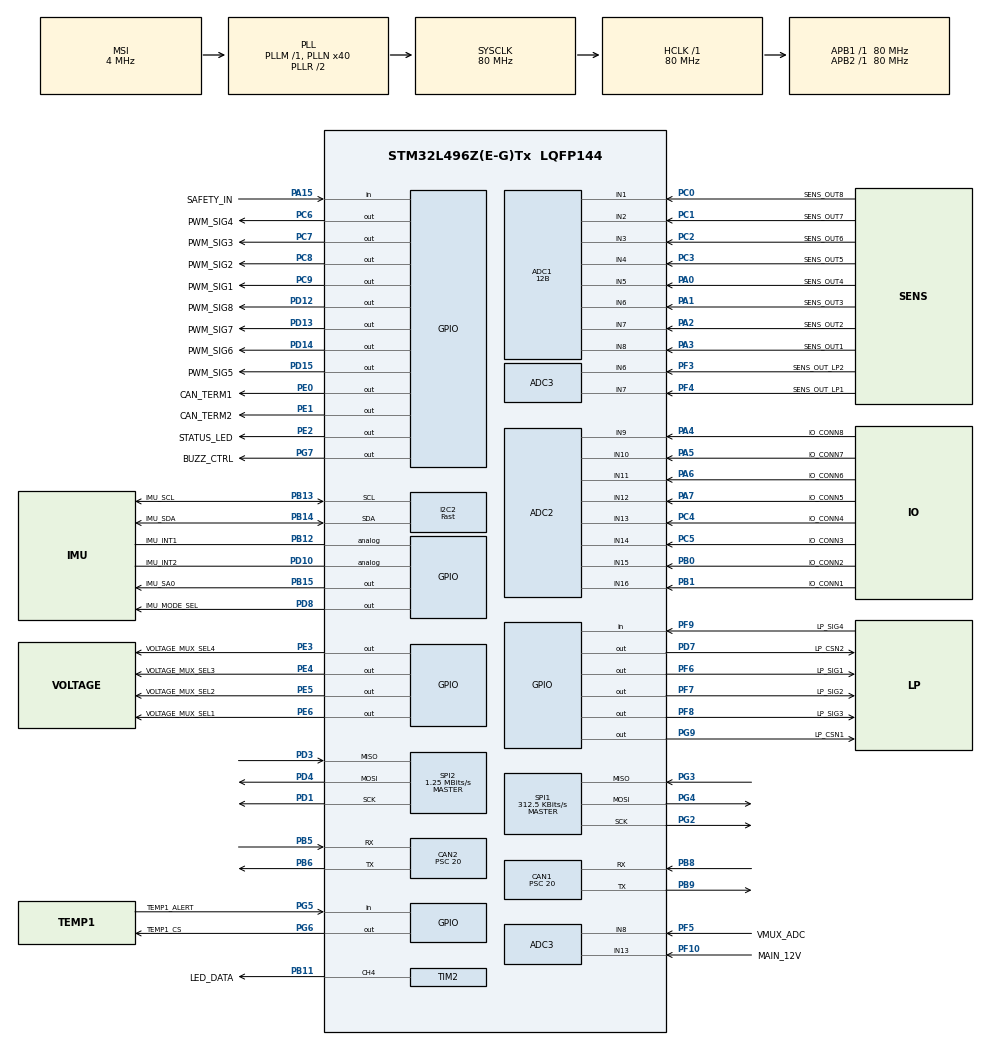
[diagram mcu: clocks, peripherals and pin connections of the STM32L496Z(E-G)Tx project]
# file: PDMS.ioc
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ADC1.Channel-0\#ChannelRegularConversion=ADC_CHANNEL_8
ADC1.Channel-1\#ChannelRegularConversion=ADC_CHANNEL_7
ADC1.Channel-2\#ChannelRegularConversion=ADC_CHANNEL_6
ADC1.Channel-3\#ChannelRegularConversion=ADC_CHANNEL_5
ADC1.Channel-4\#ChannelRegularConversion=ADC_CHANNEL_4
ADC1.Channel-5\#ChannelRegularConversion=ADC_CHANNEL_3
ADC1.Channel-6\#ChannelRegularConversion=ADC_CHANNEL_2
ADC1.Channel-7\#ChannelRegularConversion=ADC_CHANNEL_1
ADC1.DMAContinuousRequests=ENABLE
ADC1.EOCSelection=ADC_EOC_SEQ_CONV
ADC1.ExternalTrigConv=ADC_EXTERNALTRIG_T15_TRGO
ADC1.NbrOfConversion=8
ADC1.NbrOfConversionFlag=1
ADC1.OffsetNumber-0\#ChannelRegularConversion=ADC_OFFSET_NONE
ADC1.OffsetNumber-1\#ChannelRegularConversion=ADC_OFFSET_NONE
ADC1.OffsetNumber-2\#ChannelRegularConversion=ADC_OFFSET_NONE
ADC1.OffsetNumber-3\#ChannelRegularConversion=ADC_OFFSET_NONE
ADC1.OffsetNumber-4\#ChannelRegularConversion=ADC_OFFSET_NONE
ADC1.OffsetNumber-5\#ChannelRegularConversion=ADC_OFFSET_NONE
ADC1.OffsetNumber-6\#ChannelRegularConversion=ADC_OFFSET_NONE
ADC1.OffsetNumber-7\#ChannelRegularConversion=ADC_OFFSET_NONE
ADC1.Overrun=ADC_OVR_DATA_OVERWRITTEN
ADC1.OversamplingMode=ENABLE
ADC1.Rank-0\#ChannelRegularConversion=1
ADC1.Rank-1\#ChannelRegularConversion=2
ADC1.Rank-2\#ChannelRegularConversion=3
ADC1.Rank-3\#ChannelRegularConversion=4
ADC1.Rank-4\#ChannelRegularConversion=5
ADC1.Rank-5\#ChannelRegularConversion=6
ADC1.Rank-6\#ChannelRegularConversion=7
ADC1.Rank-7\#ChannelRegularConversion=8
ADC1.Ratio=ADC_OVERSAMPLING_RATIO_16
ADC1.Resolution=ADC_RESOLUTION_12B
ADC1.RightBitShift=ADC_RIGHTBITSHIFT_4
ADC1.SamplingTime-0\#ChannelRegularConversion=ADC_SAMPLETIME_12CYCLES_5
ADC1.SamplingTime-1\#ChannelRegularConversion=ADC_SAMPLETIME_12CYCLES_5
ADC1.SamplingTime-2\#ChannelRegularConversion=ADC_SAMPLETIME_12CYCLES_5
ADC1.SamplingTime-3\#ChannelRegularConversion=ADC_SAMPLETIME_12CYCLES_5
ADC1.SamplingTime-4\#ChannelRegularConversion=ADC_SAMPLETIME_12CYCLES_5
ADC1.SamplingTime-5\#ChannelRegularConversion=ADC_SAMPLETIME_12CYCLES_5
ADC1.SamplingTime-6\#ChannelRegularConversion=ADC_SAMPLETIME_12CYCLES_5
ADC1.SamplingTime-7\#ChannelRegularConversion=ADC_SAMPLETIME_12CYCLES_5
ADC1.master=1
ADC2.Channel-1\#ChannelRegularConversion=ADC_CHANNEL_16
ADC2.Channel-2\#ChannelRegularConversion=ADC_CHANNEL_15
ADC2.Channel-3\#ChannelRegularConversion=ADC_CHANNEL_14
ADC2.Channel-4\#ChannelRegularConversion=ADC_CHANNEL_13
ADC2.Channel-5\#ChannelRegularConversion=ADC_CHANNEL_12
ADC2.Channel-6\#ChannelRegularConversion=ADC_CHANNEL_11
ADC2.Channel-7\#ChannelRegularConversion=ADC_CHANNEL_10
ADC2.Channel-8\#ChannelRegularConversion=ADC_CHANNEL_9
ADC2.DMAContinuousRequests=ENABLE
ADC2.EOCSelection=ADC_EOC_SEQ_CONV
ADC2.EnableAnalogWatchDog1=false
ADC2.EnableAnalogWatchDog2=false
ADC2.ExternalTrigConv=ADC_EXTERNALTRIG_T3_TRGO
ADC2.NbrOfConversion=8
ADC2.NbrOfConversionFlag=1
ADC2.OffsetNumber-1\#ChannelRegularConversion=ADC_OFFSET_NONE
ADC2.OffsetNumber-2\#ChannelRegularConversion=ADC_OFFSET_NONE
ADC2.OffsetNumber-3\#ChannelRegularConversion=ADC_OFFSET_NONE
ADC2.OffsetNumber-4\#ChannelRegularConversion=ADC_OFFSET_NONE
ADC2.OffsetNumber-5\#ChannelRegularConversion=ADC_OFFSET_NONE
ADC2.OffsetNumber-6\#ChannelRegularConversion=ADC_OFFSET_NONE
ADC2.OffsetNumber-7\#ChannelRegularConversion=ADC_OFFSET_NONE
ADC2.OffsetNumber-8\#ChannelRegularConversion=ADC_OFFSET_NONE
ADC2.Rank-1\#ChannelRegularConversion=1
ADC2.Rank-2\#ChannelRegularConversion=2
ADC2.Rank-3\#ChannelRegularConversion=3
ADC2.Rank-4\#ChannelRegularConversion=4
ADC2.Rank-5\#ChannelRegularConversion=5
ADC2.Rank-6\#ChannelRegularConversion=6
ADC2.Rank-7\#ChannelRegularConversion=7
ADC2.Rank-8\#ChannelRegularConversion=8
ADC2.SamplingTime-1\#ChannelRegularConversion=ADC_SAMPLETIME_12CYCLES_5
ADC2.SamplingTime-2\#ChannelRegularConversion=ADC_SAMPLETIME_12CYCLES_5
ADC2.SamplingTime-3\#ChannelRegularConversion=ADC_SAMPLETIME_12CYCLES_5
ADC2.SamplingTime-4\#ChannelRegularConversion=ADC_SAMPLETIME_12CYCLES_5
ADC2.SamplingTime-5\#ChannelRegularConversion=ADC_SAMPLETIME_12CYCLES_5
ADC2.SamplingTime-6\#ChannelRegularConversion=ADC_SAMPLETIME_12CYCLES_5
ADC2.SamplingTime-7\#ChannelRegularConversion=ADC_SAMPLETIME_12CYCLES_5
ADC2.SamplingTime-8\#ChannelRegularConversion=ADC_SAMPLETIME_12CYCLES_5
ADC3.Channel-13\#ChannelRegularConversion=ADC_CHANNEL_6
ADC3.ClockPrescaler=ADC_CLOCK_ASYNC_DIV1
ADC3.ContinuousConvMode=ENABLE
ADC3.EOCSelection=ADC_EOC_SEQ_CONV
ADC3.EnableRegularConversion=ENABLE
ADC3.NbrOfConversionFlag=1
ADC3.OffsetNumber-13\#ChannelRegularConversion=ADC_OFFSET_NONE
ADC3.Overrun=ADC_OVR_DATA_OVERWRITTEN
ADC3.Rank-13\#ChannelRegularConversion=1
ADC3.SamplingTime-13\#ChannelRegularConversion=ADC_SAMPLETIME_2CYCLES_5
CAN1.BS1=CAN_BS1_2TQ
CAN1.BS2=CAN_BS2_1TQ
CAN1.CalculateBaudRate=1000000
CAN1.CalculateTimeBit=1000
CAN1.CalculateTimeQuantum=250.0
CAN1.Prescaler=20
CAN2.BS1=CAN_BS1_2TQ
CAN2.BS2=CAN_BS2_1TQ
CAN2.CalculateBaudRate=1000000
CAN2.CalculateTimeBit=1000
CAN2.CalculateTimeQuantum=250.0
CAN2.Prescaler=20
Dma.ADC1.1.Direction=DMA_PERIPH_TO_MEMORY
Dma.ADC1.1.Instance=DMA1_Channel1
Dma.ADC1.1.MemDataAlignment=DMA_MDATAALIGN_HALFWORD
Dma.ADC1.1.MemInc=DMA_MINC_ENABLE
Dma.ADC1.1.Mode=DMA_CIRCULAR
Dma.ADC1.1.PeriphDataAlignment=DMA_PDATAALIGN_HALFWORD
Dma.ADC1.1.PeriphInc=DMA_PINC_DISABLE
Dma.ADC1.1.Priority=DMA_PRIORITY_HIGH
Dma.ADC2.0.Direction=DMA_PERIPH_TO_MEMORY
Dma.ADC2.0.Instance=DMA1_Channel2
Dma.ADC2.0.MemDataAlignment=DMA_MDATAALIGN_HALFWORD
Dma.ADC2.0.MemInc=DMA_MINC_ENABLE
Dma.ADC2.0.Mode=DMA_CIRCULAR
Dma.ADC2.0.PeriphDataAlignment=DMA_PDATAALIGN_HALFWORD
Dma.ADC2.0.PeriphInc=DMA_PINC_DISABLE
Dma.ADC2.0.Priority=DMA_PRIORITY_HIGH
Dma.Request0=ADC2
Dma.Request1=ADC1
Dma.Request2=TIM2_CH2/CH4
Dma.TIM2_CH2/CH4.2.Direction=DMA_MEMORY_TO_PERIPH
Dma.TIM2_CH2/CH4.2.Instance=DMA1_Channel7
Dma.TIM2_CH2/CH4.2.MemDataAlignment=DMA_MDATAALIGN_BYTE
Dma.TIM2_CH2/CH4.2.MemInc=DMA_MINC_ENABLE
Dma.TIM2_CH2/CH4.2.Mode=DMA_NORMAL
Dma.TIM2_CH2/CH4.2.PeriphDataAlignment=DMA_PDATAALIGN_WORD
Dma.TIM2_CH2/CH4.2.PeriphInc=DMA_PINC_DISABLE
Dma.TIM2_CH2/CH4.2.Priority=DMA_PRIORITY_LOW
FREERTOS.Tasks01=defaultTask,24,128,StartDefaultTask,Default,NULL,Dynamic,NULL,NULL;statusTask,24,128,statusTaskStart,Default,NULL,Dynamic,NULL,NULL;can1Task,24,128,can1TaskStart,As external,NULL,Dynamic,NULL,NULL;can2Task,24,128,can2TaskStart,As external,NULL,Dynamic,NULL,NULL;adc1Task,48,128,adc1TaskStart,As external,NULL,Dynamic,NULL,NULL;testTask,24,128,testTaskEntry,As external,NULL,Dynamic,NULL,NULL;vmuxTask,24,128,vmuxTaskStart,As external,NULL,Dynamic,NULL,NULL;pdmTask,24,256,pdmTaskStart,As external,NULL,Dynamic,NULL,NULL;spoc2CurrTask,8,128,spoc2CurrTaskStart,As external,NULL,Dynamic,NULL,NULL;telemTask,24,256,telemTaskStart,As external,NULL,Dynamic,NULL,NULL;adc2Task,33,128,adc2TaskStart,As external,NULL,Dynamic,NULL,NULL;argbTask,24,128,argbTaskStart,As external,NULL,Dynamic,NULL,NULL;isotpTask,24,256,isotpTaskStart,As external,NULL,Dynamic,NULL,NULL;tmp126Task,24,128,tmp126TaskEntry,As external,NULL,Dynamic,NULL,NULL;imuTask,24,128,imuTaskEntry,As external,NULL,Dynamic,NULL,NULL
FREERTOS.configENABLE_FPU=0
FREERTOS.configTIMER_TASK_PRIORITY=32
FREERTOS.configTOTAL_HEAP_SIZE=64000
FREERTOS.configUSE_NEWLIB_REENTRANT=1
I2C2.CustomTiming=Disabled
I2C2.I2C_Speed_Mode=I2C_Fast
I2C2.Timing=0x00702991
IWDG.Prescaler=IWDG_PRESCALER_16
IWDG.Reload=2499
Mcu.Family=STM32L4
Mcu.Name=STM32L496Z(E-G)Tx
Mcu.Package=LQFP144
NVIC.ADC1_2_IRQn=true\:5\:0\:false\:false\:true\:true\:true\:true\:true
NVIC.CAN1_RX0_IRQn=true\:5\:0\:false\:false\:true\:true\:true\:true\:true
NVIC.CAN2_RX0_IRQn=true\:5\:0\:false\:false\:true\:true\:true\:true\:true
NVIC.DMA1_Channel1_IRQn=true\:5\:0\:false\:false\:true\:true\:false\:true\:true
NVIC.DMA1_Channel2_IRQn=true\:5\:0\:false\:false\:true\:true\:false\:true\:true
NVIC.DMA1_Channel7_IRQn=true\:5\:0\:false\:false\:true\:true\:false\:true\:true
NVIC.PriorityGroup=NVIC_PRIORITYGROUP_4
NVIC.TIM6_DAC_IRQn=true\:15\:0\:false\:false\:true\:false\:false\:true\:true
NVIC.TimeBase=TIM6_DAC_IRQn
NVIC.TimeBaseIP=TIM6
PA0.GPIO_Label=SENS_OUT4
PA0.Signal=ADCx_IN5
PA1.GPIO_Label=SENS_OUT3
PA1.Signal=ADCx_IN6
PA13\ (JTMS/SWDIO).Mode=Trace_Asynchronous_SW
PA13\ (JTMS/SWDIO).Signal=SYS_JTMS-SWDIO
PA14\ (JTCK/SWCLK).Mode=Trace_Asynchronous_SW
PA14\ (JTCK/SWCLK).Signal=SYS_JTCK-SWCLK
PA15\ (JTDI).GPIO_Label=SAFETY_IN
PA15\ (JTDI).Signal=GPIO_Input
PA2.GPIO_Label=SENS_OUT2
PA2.Signal=ADCx_IN7
PA3.GPIO_Label=SENS_OUT1
PA3.Signal=ADCx_IN8
PA4.GPIO_Label=IO_CONN8
PA4.Signal=ADCx_IN9
PA5.GPIO_Label=IO_CONN7
PA5.Signal=ADCx_IN10
PA6.GPIO_Label=IO_CONN6
PA6.Signal=ADCx_IN11
PA7.GPIO_Label=IO_CONN5
PA7.Signal=ADCx_IN12
PB0.GPIO_Label=IO_CONN2
PB0.Signal=ADCx_IN15
PB1.GPIO_Label=IO_CONN1
PB1.Signal=ADCx_IN16
PB11.GPIO_Label=LED_DATA
PB11.GPIO_ModeDefaultPP=GPIO_MODE_AF_PP
PB11.GPIO_PuPd=GPIO_NOPULL
PB11.GPIO_Speed=GPIO_SPEED_FREQ_HIGH
PB11.Signal=S_TIM2_CH4
PB12.GPIO_Label=IMU_INT1
PB12.Signal=GPIO_Analog
PB13.GPIO_Label=IMU_SCL
PB13.Mode=I2C
PB13.Signal=I2C2_SCL
PB14.GPIO_Label=IMU_SDA
PB14.Mode=I2C
PB14.Signal=I2C2_SDA
PB15.GPIO_Label=IMU_SA0
PB15.PinState=GPIO_PIN_SET
PB15.Signal=GPIO_Output
PB3\ (JTDO/TRACESWO).Mode=Trace_Asynchronous_SW
PB3\ (JTDO/TRACESWO).Signal=SYS_JTDO-SWO
PB5.Mode=CAN_Activate
PB5.Signal=CAN2_RX
PB6.Mode=CAN_Activate
PB6.Signal=CAN2_TX
PB8.Mode=CAN_Activate
PB8.Signal=CAN1_RX
PB9.Mode=CAN_Activate
PB9.Signal=CAN1_TX
PC0.GPIO_Label=SENS_OUT8
PC0.Signal=ADCx_IN1
PC1.GPIO_Label=SENS_OUT7
PC1.Signal=ADCx_IN2
PC2.GPIO_Label=SENS_OUT6
PC2.Signal=ADCx_IN3
PC3.GPIO_Label=SENS_OUT5
PC3.Signal=ADCx_IN4
PC4.GPIO_Label=IO_CONN4
PC4.Signal=ADCx_IN13
PC5.GPIO_Label=IO_CONN3
PC5.Signal=ADCx_IN14
PC6.GPIO_Label=PWM_SIG4
PC6.Signal=GPIO_Output
PC7.GPIO_Label=PWM_SIG3
PC7.Signal=GPIO_Output
PC8.GPIO_Label=PWM_SIG2
PC8.Signal=GPIO_Output
PC9.GPIO_Label=PWM_SIG1
PC9.Signal=GPIO_Output
PD1.Mode=Full_Duplex_Master
PD1.Signal=SPI2_SCK
PD10.GPIO_Label=IMU_INT2
PD10.Signal=GPIO_Analog
PD12.GPIO_Label=PWM_SIG8
PD12.Signal=GPIO_Output
PD13.GPIO_Label=PWM_SIG7
PD13.Signal=GPIO_Output
PD14.GPIO_Label=PWM_SIG6
PD14.Signal=GPIO_Output
PD15.GPIO_Label=PWM_SIG5
PD15.Signal=GPIO_Output
PD3.Mode=Full_Duplex_Master
PD3.Signal=SPI2_MISO
PD4.Mode=Full_Duplex_Master
PD4.Signal=SPI2_MOSI
PD7.GPIO_Label=LP_CSN2
PD7.Signal=GPIO_Output
PD8.GPIO_Label=IMU_MODE_SEL
PD8.PinState=GPIO_PIN_SET
PD8.Signal=GPIO_Output
PE0.GPIO_Label=CAN_TERM1
PE0.Signal=GPIO_Output
PE1.GPIO_Label=CAN_TERM2
PE1.Signal=GPIO_Output
PE2.GPIO_Label=STATUS_LED
PE2.Signal=GPIO_Output
PE3.GPIO_Label=VOLTAGE_MUX_SEL4
PE3.Signal=GPIO_Output
PE4.GPIO_Label=VOLTAGE_MUX_SEL3
PE4.Signal=GPIO_Output
PE5.GPIO_Label=VOLTAGE_MUX_SEL2
PE5.Signal=GPIO_Output
PE6.GPIO_Label=VOLTAGE_MUX_SEL1
PE6.Signal=GPIO_Output
PF10.GPIO_Label=MAIN_12V
PF10.Mode=IN13-Single-Ended
PF10.Signal=ADC3_IN13
PF3.GPIO_Label=SENS_OUT_LP2
PF3.Mode=IN6-Single-Ended
PF3.Signal=ADC3_IN6
PF4.GPIO_Label=SENS_OUT_LP1
PF4.Mode=IN7-Single-Ended
PF4.Signal=ADC3_IN7
PF5.GPIO_Label=VMUX_ADC
PF5.Mode=IN8-Single-Ended
PF5.Signal=ADC3_IN8
PF6.GPIO_Label=LP_SIG1
PF6.Signal=GPIO_Output
PF7.GPIO_Label=LP_SIG2
PF7.Signal=GPIO_Output
PF8.GPIO_Label=LP_SIG3
PF8.Signal=GPIO_Output
PF9.GPIO_Label=LP_SIG4
PF9.Signal=GPIO_Input
PG2.Mode=Full_Duplex_Master
PG2.Signal=SPI1_SCK
PG3.Mode=Full_Duplex_Master
PG3.Signal=SPI1_MISO
PG4.Mode=Full_Duplex_Master
PG4.Signal=SPI1_MOSI
PG5.GPIO_Label=TEMP1_ALERT
PG5.Signal=GPIO_Input
PG6.GPIO_Label=TEMP1_CS
PG6.Signal=GPIO_Output
PG7.GPIO_Label=BUZZ_CTRL
PG7.Signal=GPIO_Output
PG9.GPIO_Label=LP_CSN1
PG9.Signal=GPIO_Output
ProjectManager.HeapSize=0x200
ProjectManager.StackSize=0x400
ProjectManager.TargetToolchain=Makefile
RCC.ADCFreq_Value=32000000
RCC.AHBFreq_Value=80000000
RCC.APB1Freq_Value=80000000
RCC.APB1TimFreq_Value=80000000
RCC.APB2Freq_Value=80000000
RCC.APB2TimFreq_Value=80000000
RCC.CortexFreq_Value=80000000
RCC.HCLKFreq_Value=80000000
RCC.HSE_VALUE=8000000
RCC.HSI48_VALUE=48000000
RCC.HSI_VALUE=16000000
RCC.LSE_VALUE=32768
RCC.MSI_VALUE=4000000
RCC.PLLN=40
RCC.PLLSAI1N=16
RCC.SYSCLKFreq_VALUE=80000000
RCC.SYSCLKSource=RCC_SYSCLKSOURCE_PLLCLK
RCC.USBFreq_Value=32000000
RCC.VCOOutputFreq_Value=160000000
SH.ADCx_IN1.0=ADC1_IN1,IN1-Single-Ended
SH.ADCx_IN10.0=ADC2_IN10,IN10-Single-Ended
SH.ADCx_IN11.0=ADC2_IN11,IN11-Single-Ended
SH.ADCx_IN12.0=ADC2_IN12,IN12-Single-Ended
SH.ADCx_IN13.0=ADC2_IN13,IN13-Single-Ended
SH.ADCx_IN14.0=ADC2_IN14,IN14-Single-Ended
SH.ADCx_IN15.0=ADC2_IN15,IN15-Single-Ended
SH.ADCx_IN16.0=ADC2_IN16,IN16-Single-Ended
SH.ADCx_IN2.0=ADC1_IN2,IN2-Single-Ended
SH.ADCx_IN3.0=ADC1_IN3,IN3-Single-Ended
SH.ADCx_IN4.0=ADC1_IN4,IN4-Single-Ended
SH.ADCx_IN5.0=ADC1_IN5,IN5-Single-Ended
SH.ADCx_IN6.0=ADC1_IN6,IN6-Single-Ended
SH.ADCx_IN7.0=ADC1_IN7,IN7-Single-Ended
SH.ADCx_IN8.0=ADC1_IN8,IN8-Single-Ended
SH.ADCx_IN9.0=ADC2_IN9,IN9-Single-Ended
SH.S_TIM2_CH4.0=TIM2_CH4,PWM Generation4 CH4
SPI1.BaudRatePrescaler=SPI_BAUDRATEPRESCALER_256
SPI1.CLKPhase=SPI_PHASE_1EDGE
SPI1.CalculateBaudRate=312.5 KBits/s
SPI1.DataSize=SPI_DATASIZE_8BIT
SPI1.Direction=SPI_DIRECTION_2LINES
SPI1.Mode=SPI_MODE_MASTER
SPI1.NSSPMode=SPI_NSS_PULSE_DISABLE
SPI1.VirtualType=VM_MASTER
SPI2.BaudRatePrescaler=SPI_BAUDRATEPRESCALER_64
SPI2.CLKPhase=SPI_PHASE_2EDGE
SPI2.CalculateBaudRate=1.25 MBits/s
SPI2.DataSize=SPI_DATASIZE_8BIT
SPI2.Direction=SPI_DIRECTION_2LINES
SPI2.Mode=SPI_MODE_MASTER
SPI2.VirtualType=VM_MASTER
TIM15.Period=100-1
TIM15.Prescaler=80-1
TIM15.TIM_MasterOutputTrigger=TIM_TRGO_UPDATE
TIM2.Channel-PWM\ Generation4\ CH4=TIM_CHANNEL_4
TIM2.ClearChannel4=TIM_CHANNEL_4
TIM2.ClearInputSource=TIM_CLEARINPUTSOURCE_NONE
TIM2.OC4Preload_PWM=ENABLE
TIM2.Period=20-1
TIM2.Prescaler=5
TIM2.Pulse-PWM\ Generation4\ CH4=0
TIM3.Period=50-1
TIM3.Prescaler=8000-1
TIM3.TIM_MasterOutputTrigger=TIM_TRGO_UPDATE
TIM5.Prescaler=40000
VP_ADC3_TempSens_Input.Mode=IN-TempSens
VP_CRC_VS_CRC.Mode=CRC_Activate
VP_FREERTOS_VS_CMSIS_V2.Mode=CMSIS_V2
VP_IWDG_VS_IWDG.Mode=IWDG_Activate
VP_SYS_VS_tim6.Mode=TIM6
VP_TIM15_VS_ClockSourceINT.Mode=Internal
VP_TIM2_VS_ClockSourceINT.Mode=Internal
VP_TIM3_VS_ClockSourceINT.Mode=Internal
VP_TIM5_VS_ClockSourceINT.Mode=Internal
board=custom

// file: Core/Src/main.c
/* USER CODE BEGIN Header */
/**
  ******************************************************************************
  * @file           : main.c
  * @brief          : Main program body
  ******************************************************************************
  * @attention
  *
  * Copyright (c) 2023 STMicroelectronics.
  * All rights reserved.
  *
  * This software is licensed under terms that can be found in the LICENSE file
  * in the root directory of this software component.
  * If no LICENSE file comes with this software, it is provided AS-IS.
  *
  ******************************************************************************
  */
/* USER CODE END Header */
#include "main.h"
#include "cmsis_os.h"
#include "adc.h"
#include "can.h"
#include "crc.h"
#include "dma.h"
#include "i2c.h"
#include "iwdg.h"
#include "spi.h"
#include "tim.h"
#include "gpio.h"

/* USER CODE BEGIN Includes */
#include "pdm.h"
/* USER CODE END Includes */

/* USER CODE BEGIN PM */
int __io_putchar(int ch)
{
 // Write character to ITM ch.0
 ITM_SendChar(ch);
 return(ch);
}
/* USER CODE END PM */

void SystemClock_Config(void);
void PeriphCommonClock_Config(void);
void MX_FREERTOS_Init(void);

int main(void)
{

  /* MCU Configuration--------------------------------------------------------*/

  /* Reset of all peripherals, Initializes the Flash interface and the Systick. */
  HAL_Init();

  /* Configure the system clock */
  SystemClock_Config();

/* Configure the peripherals common clocks */
  PeriphCommonClock_Config();

  /* Initialize all configured peripherals */
  MX_GPIO_Init();
  MX_DMA_Init();
  MX_CAN1_Init();
  MX_CAN2_Init();
  MX_ADC2_Init();
  MX_ADC1_Init();
  MX_ADC3_Init();
  MX_SPI2_Init();
  MX_TIM2_Init();
  MX_IWDG_Init();
  MX_TIM15_Init();
  MX_SPI1_Init();
  MX_I2C2_Init();
  MX_TIM3_Init();
  MX_CRC_Init();
  MX_TIM5_Init();
  /* USER CODE BEGIN 2 */

  // Platform start
  PDM_Init();

  /* USER CODE END 2 */

  /* Init scheduler */
  osKernelInitialize();  /* Call init function for freertos objects (in freertos.c) */
  MX_FREERTOS_Init();

  /* Start scheduler */
  osKernelStart();

  /* We should never get here as control is now taken by the scheduler */
  /* Infinite loop */
  while (1)
  {

  }
}

void SystemClock_Config(void)
{
  RCC_OscInitTypeDef RCC_OscInitStruct = {0};
  RCC_ClkInitTypeDef RCC_ClkInitStruct = {0};

  /** Configure the main internal regulator output voltage
  */
  if (HAL_PWREx_ControlVoltageScaling(PWR_REGULATOR_VOLTAGE_SCALE1) != HAL_OK)
  {
    Error_Handler();
  }

  /** Initializes the RCC Oscillators according to the specified parameters
  * in the RCC_OscInitTypeDef structure.
  */
  RCC_OscInitStruct.OscillatorType = RCC_OSCILLATORTYPE_LSI|RCC_OSCILLATORTYPE_MSI;
  RCC_OscInitStruct.LSIState = RCC_LSI_ON;
  RCC_OscInitStruct.MSIState = RCC_MSI_ON;
  RCC_OscInitStruct.MSICalibrationValue = 0;
  RCC_OscInitStruct.MSIClockRange = RCC_MSIRANGE_6;
  RCC_OscInitStruct.PLL.PLLState = RCC_PLL_ON;
  RCC_OscInitStruct.PLL.PLLSource = RCC_PLLSOURCE_MSI;
  RCC_OscInitStruct.PLL.PLLM = 1;
  RCC_OscInitStruct.PLL.PLLN = 40;
  RCC_OscInitStruct.PLL.PLLP = RCC_PLLP_DIV2;
  RCC_OscInitStruct.PLL.PLLQ = RCC_PLLQ_DIV2;
  RCC_OscInitStruct.PLL.PLLR = RCC_PLLR_DIV2;
  if (HAL_RCC_OscConfig(&RCC_OscInitStruct) != HAL_OK)
  {
    Error_Handler();
  }

  /** Initializes the CPU, AHB and APB buses clocks
  */
  RCC_ClkInitStruct.ClockType = RCC_CLOCKTYPE_HCLK|RCC_CLOCKTYPE_SYSCLK
                              |RCC_CLOCKTYPE_PCLK1|RCC_CLOCKTYPE_PCLK2;
  RCC_ClkInitStruct.SYSCLKSource = RCC_SYSCLKSOURCE_PLLCLK;
  RCC_ClkInitStruct.AHBCLKDivider = RCC_SYSCLK_DIV1;
  RCC_ClkInitStruct.APB1CLKDivider = RCC_HCLK_DIV1;
  RCC_ClkInitStruct.APB2CLKDivider = RCC_HCLK_DIV1;

  if (HAL_RCC_ClockConfig(&RCC_ClkInitStruct, FLASH_LATENCY_4) != HAL_OK)
  {
    Error_Handler();
  }
}

void PeriphCommonClock_Config(void)
{
  RCC_PeriphCLKInitTypeDef PeriphClkInit = {0};

  /** Initializes the peripherals clock
  */
  PeriphClkInit.PeriphClockSelection = RCC_PERIPHCLK_ADC;
  PeriphClkInit.AdcClockSelection = RCC_ADCCLKSOURCE_PLLSAI1;
  PeriphClkInit.PLLSAI1.PLLSAI1Source = RCC_PLLSOURCE_MSI;
  PeriphClkInit.PLLSAI1.PLLSAI1M = 1;
  PeriphClkInit.PLLSAI1.PLLSAI1N = 16;
  PeriphClkInit.PLLSAI1.PLLSAI1P = RCC_PLLP_DIV2;
  PeriphClkInit.PLLSAI1.PLLSAI1Q = RCC_PLLQ_DIV2;
  PeriphClkInit.PLLSAI1.PLLSAI1R = RCC_PLLR_DIV2;
  PeriphClkInit.PLLSAI1.PLLSAI1ClockOut = RCC_PLLSAI1_ADC1CLK;
  if (HAL_RCCEx_PeriphCLKConfig(&PeriphClkInit) != HAL_OK)
  {
    Error_Handler();
  }
}

/* USER CODE BEGIN 4 */
void assert_failed_pdm(uint8_t *file, uint32_t line)
{
    __disable_irq();
    Error_Handler();
    while (1)
    {
    }
}

/* USER CODE END 4 */

void HAL_TIM_PeriodElapsedCallback(TIM_HandleTypeDef *htim)
{
  if (htim->Instance == TIM6) {
    HAL_IncTick();
  }
}

void Error_Handler(void)
{
  /* USER CODE BEGIN Error_Handler_Debug */
  __disable_irq();

  // Disable all channels
  OUT_SetState(OUT_ID_1, OUT_STATE_OFF);
  OUT_SetState(OUT_ID_2, OUT_STATE_OFF);
  OUT_SetState(OUT_ID_3, OUT_STATE_OFF);
  OUT_SetState(OUT_ID_4, OUT_STATE_OFF);
  OUT_SetState(OUT_ID_5, OUT_STATE_OFF);
  OUT_SetState(OUT_ID_6, OUT_STATE_OFF);
  OUT_SetState(OUT_ID_7, OUT_STATE_OFF);
  OUT_SetState(OUT_ID_8, OUT_STATE_OFF);
  OUT_SetState(OUT_ID_9, OUT_STATE_OFF);
  OUT_SetState(OUT_ID_10, OUT_STATE_OFF);
  OUT_SetState(OUT_ID_11, OUT_STATE_OFF);
  OUT_SetState(OUT_ID_12, OUT_STATE_OFF);
  OUT_SetState(OUT_ID_13, OUT_STATE_OFF);
  OUT_SetState(OUT_ID_14, OUT_STATE_OFF);
  OUT_SetState(OUT_ID_15, OUT_STATE_OFF);
  OUT_SetState(OUT_ID_16, OUT_STATE_OFF);

  LL_GPIO_ResetOutputPin(PWM_SIG1_GPIO_Port, PWM_SIG1_Pin);
  LL_GPIO_ResetOutputPin(PWM_SIG2_GPIO_Port, PWM_SIG2_Pin);
  LL_GPIO_ResetOutputPin(PWM_SIG3_GPIO_Port, PWM_SIG3_Pin);
  LL_GPIO_ResetOutputPin(PWM_SIG4_GPIO_Port, PWM_SIG4_Pin);
  LL_GPIO_ResetOutputPin(PWM_SIG5_GPIO_Port, PWM_SIG5_Pin);
  LL_GPIO_ResetOutputPin(PWM_SIG6_GPIO_Port, PWM_SIG6_Pin);
  LL_GPIO_ResetOutputPin(PWM_SIG7_GPIO_Port, PWM_SIG7_Pin);
  LL_GPIO_ResetOutputPin(PWM_SIG8_GPIO_Port, PWM_SIG8_Pin);

  /* User can add his own implementation to report the HAL error return state */

  uint32_t delay = 0;
  const uint32_t error_delay = 1000000;
  while (1)
  {
    for (int i = 0; i < 2; i++)
        {
            delay = error_delay;
            while ((delay--) != 0)
            {
                __NOP();
            }
            HAL_GPIO_TogglePin(STATUS_LED_GPIO_Port, STATUS_LED_Pin);
        }
        for (int i = 0; i < 2; i++)
        {
            delay = 2U * error_delay;
            while ((delay--) != 0)
            {
                __NOP();
            }
            HAL_GPIO_TogglePin(STATUS_LED_GPIO_Port, STATUS_LED_Pin);
        }
  }
  /* USER CODE END Error_Handler_Debug */
}

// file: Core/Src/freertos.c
/* USER CODE BEGIN Header */
/**
  ******************************************************************************
  * File Name          : freertos.c
  * Description        : Code for freertos applications
  ******************************************************************************
  * @attention
  *
  * Copyright (c) 2023 STMicroelectronics.
  * All rights reserved.
  *
  * This software is licensed under terms that can be found in the LICENSE file
  * in the root directory of this software component.
  * If no LICENSE file comes with this software, it is provided AS-IS.
  *
  ******************************************************************************
  */
/* USER CODE END Header */

#include "FreeRTOS.h"
#include "task.h"
#include "main.h"
#include "cmsis_os.h"

/* USER CODE BEGIN Includes */
#include "tim.h"
#include "iwdg.h"
#include "tim.h"
#include "typedefs.h"
#include "pdm.h"
#include "buzzer.h"
/* USER CODE END Includes */

/* Definitions for defaultTask */
osThreadId_t defaultTaskHandle;
const osThreadAttr_t defaultTask_attributes = {
  .name = "defaultTask",
  .stack_size = 128 * 4,
  .priority = (osPriority_t) osPriorityNormal,
};
/* Definitions for statusTask */
osThreadId_t statusTaskHandle;
const osThreadAttr_t statusTask_attributes = {
  .name = "statusTask",
  .stack_size = 128 * 4,
  .priority = (osPriority_t) osPriorityNormal,
};
/* Definitions for can1Task */
osThreadId_t can1TaskHandle;
const osThreadAttr_t can1Task_attributes = {
  .name = "can1Task",
  .stack_size = 128 * 4,
  .priority = (osPriority_t) osPriorityNormal,
};
/* Definitions for can2Task */
osThreadId_t can2TaskHandle;
const osThreadAttr_t can2Task_attributes = {
  .name = "can2Task",
  .stack_size = 128 * 4,
  .priority = (osPriority_t) osPriorityNormal,
};
/* Definitions for adc1Task */
osThreadId_t adc1TaskHandle;
const osThreadAttr_t adc1Task_attributes = {
  .name = "adc1Task",
  .stack_size = 128 * 4,
  .priority = (osPriority_t) osPriorityRealtime,
};
/* Definitions for testTask */
osThreadId_t testTaskHandle;
const osThreadAttr_t testTask_attributes = {
  .name = "testTask",
  .stack_size = 128 * 4,
  .priority = (osPriority_t) osPriorityNormal,
};
/* Definitions for vmuxTask */
osThreadId_t vmuxTaskHandle;
const osThreadAttr_t vmuxTask_attributes = {
  .name = "vmuxTask",
  .stack_size = 128 * 4,
  .priority = (osPriority_t) osPriorityNormal,
};
/* Definitions for pdmTask */
osThreadId_t pdmTaskHandle;
const osThreadAttr_t pdmTask_attributes = {
  .name = "pdmTask",
  .stack_size = 256 * 4,
  .priority = (osPriority_t) osPriorityNormal,
};
/* Definitions for spoc2CurrTask */
osThreadId_t spoc2CurrTaskHandle;
const osThreadAttr_t spoc2CurrTask_attributes = {
  .name = "spoc2CurrTask",
  .stack_size = 128 * 4,
  .priority = (osPriority_t) osPriorityLow,
};
/* Definitions for telemTask */
osThreadId_t telemTaskHandle;
const osThreadAttr_t telemTask_attributes = {
  .name = "telemTask",
  .stack_size = 256 * 4,
  .priority = (osPriority_t) osPriorityNormal,
};
/* Definitions for adc2Task */
osThreadId_t adc2TaskHandle;
const osThreadAttr_t adc2Task_attributes = {
  .name = "adc2Task",
  .stack_size = 128 * 4,
  .priority = (osPriority_t) osPriorityAboveNormal1,
};
/* Definitions for argbTask */
osThreadId_t argbTaskHandle;
const osThreadAttr_t argbTask_attributes = {
  .name = "argbTask",
  .stack_size = 128 * 4,
  .priority = (osPriority_t) osPriorityNormal,
};
/* Definitions for isotpTask */
osThreadId_t isotpTaskHandle;
const osThreadAttr_t isotpTask_attributes = {
  .name = "isotpTask",
  .stack_size = 256 * 4,
  .priority = (osPriority_t) osPriorityNormal,
};
/* Definitions for tmp126Task */
osThreadId_t tmp126TaskHandle;
const osThreadAttr_t tmp126Task_attributes = {
  .name = "tmp126Task",
  .stack_size = 128 * 4,
  .priority = (osPriority_t) osPriorityNormal,
};
/* Definitions for imuTask */
osThreadId_t imuTaskHandle;
const osThreadAttr_t imuTask_attributes = {
  .name = "imuTask",
  .stack_size = 128 * 4,
  .priority = (osPriority_t) osPriorityNormal,
};

void StartDefaultTask(void *argument);
extern void statusTaskStart(void *argument);
extern void can1TaskStart(void *argument);
extern void can2TaskStart(void *argument);
extern void adc1TaskStart(void *argument);
extern void testTaskEntry(void *argument);
extern void vmuxTaskStart(void *argument);
extern void pdmTaskStart(void *argument);
extern void spoc2CurrTaskStart(void *argument);
extern void telemTaskStart(void *argument);
extern void adc2TaskStart(void *argument);
extern void argbTaskStart(void *argument);
extern void isotpTaskStart(void *argument);
extern void tmp126TaskEntry(void *argument);
extern void imuTaskEntry(void *argument);

void MX_FREERTOS_Init(void); /* (MISRA C 2004 rule 8.1) */

void MX_FREERTOS_Init(void) {

  /* USER CODE BEGIN RTOS_SEMAPHORES */

  // Create semaphore that will indicate platform initalization
  /* USER CODE END RTOS_SEMAPHORES */

  /* Create the thread(s) */
  /* creation of defaultTask */
  defaultTaskHandle = osThreadNew(StartDefaultTask, NULL, &defaultTask_attributes);

  /* creation of statusTask */
  statusTaskHandle = osThreadNew(statusTaskStart, NULL, &statusTask_attributes);

  /* creation of can1Task */
  can1TaskHandle = osThreadNew(can1TaskStart, NULL, &can1Task_attributes);

  /* creation of can2Task */
  can2TaskHandle = osThreadNew(can2TaskStart, NULL, &can2Task_attributes);

  /* creation of adc1Task */
  adc1TaskHandle = osThreadNew(adc1TaskStart, NULL, &adc1Task_attributes);

  /* creation of testTask */
  testTaskHandle = osThreadNew(testTaskEntry, NULL, &testTask_attributes);

  /* creation of vmuxTask */
  vmuxTaskHandle = osThreadNew(vmuxTaskStart, NULL, &vmuxTask_attributes);

  /* creation of pdmTask */
  pdmTaskHandle = osThreadNew(pdmTaskStart, NULL, &pdmTask_attributes);

  /* creation of spoc2CurrTask */
  spoc2CurrTaskHandle = osThreadNew(spoc2CurrTaskStart, NULL, &spoc2CurrTask_attributes);

  /* creation of telemTask */
  telemTaskHandle = osThreadNew(telemTaskStart, NULL, &telemTask_attributes);

  /* creation of adc2Task */
  adc2TaskHandle = osThreadNew(adc2TaskStart, NULL, &adc2Task_attributes);

  /* creation of argbTask */
  argbTaskHandle = osThreadNew(argbTaskStart, NULL, &argbTask_attributes);

  /* creation of isotpTask */
  isotpTaskHandle = osThreadNew(isotpTaskStart, NULL, &isotpTask_attributes);

  /* creation of tmp126Task */
  tmp126TaskHandle = osThreadNew(tmp126TaskEntry, NULL, &tmp126Task_attributes);

  /* creation of imuTask */
  imuTaskHandle = osThreadNew(imuTaskEntry, NULL, &imuTask_attributes);

}

void StartDefaultTask(void *argument)
{
  /* USER CODE BEGIN StartDefaultTask */
  LOG_INFO("DEFAULT:: Task start");

  /* Infinite loop */
  for(;;)
  {
    osDelay(pdMS_TO_TICKS(20));
    HAL_IWDG_Refresh(&hiwdg);
  }
  /* USER CODE END StartDefaultTask */
}

/* USER CODE BEGIN Application */
void RTOS_EnterSoftLimpHomeMode(void)
{
  //vTaskSuspend(spoc2CurrTaskHandle);
  //vTaskSuspend(vmuxTaskHandle);
  vTaskSuspend(argbTaskHandle);
  vTaskSuspend(adc1TaskHandle);
  vTaskSuspend(adc2TaskHandle);
  vTaskSuspend(pdmTaskHandle);
  vTaskSuspend(statusTaskHandle);
  vTaskSuspend(isotpTaskHandle);
}

void RTOS_ExitSoftLimpHomeMode(void)
{
  //vTaskResume(spoc2CurrTaskHandle);
  //vTaskResume(vmuxTaskHandle);
  vTaskResume(argbTaskHandle);
  vTaskResume(adc1TaskHandle);
  vTaskResume(adc2TaskHandle);
  vTaskResume(pdmTaskHandle);
  vTaskResume(statusTaskHandle);
  vTaskResume(isotpTaskHandle);
}

void RTOS_HardLimpHomeMode(void)
{
  vTaskSuspendAll();
}

void RTOS_SuspendTelemetry(void)
{
  vTaskSuspend(telemTaskHandle);
}

void RTOS_ResumeTelemetry(void)
{
  vTaskResume(telemTaskHandle);
}

void RTOS_SuspendForConfigChange(void)
{
  //vTaskSuspend(spoc2CurrTaskHandle);
  vTaskSuspend(adc1TaskHandle);
  vTaskSuspend(adc2TaskHandle);
  vTaskSuspend(pdmTaskHandle);
  vTaskSuspend(telemTaskHandle);
}

void RTOS_ResumeAfterConfigChange(void)
{
  //vTaskResume(spoc2CurrTaskHandle);
  vTaskResume(adc1TaskHandle);
  vTaskResume(adc2TaskHandle);
  vTaskResume(pdmTaskHandle);
  vTaskResume(telemTaskHandle);
}

void RTOS_SuspendCAN_1(void)
{
  vTaskSuspend(can1TaskHandle);
}

void RTOS_SuspendCAN_2(void)
{
  vTaskSuspend(can2TaskHandle);
}

void RTOS_ResumeCAN_1(void)
{
  vTaskResume(can1TaskHandle);
}

void RTOS_ResumeCAN_2(void)
{
  vTaskResume(can2TaskHandle);
}

void RTOS_ConfigureRunTimeStats(void)
{
  HAL_TIM_Base_Start(&htim5);
}

uint32_t RTOS_GetRunTimeCounterValue(void)
{
  return __HAL_TIM_GET_COUNTER(&htim5);
}
/* USER CODE END Application */
